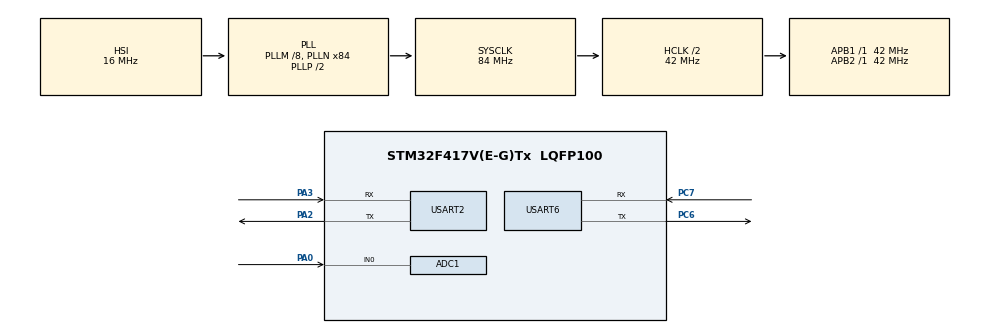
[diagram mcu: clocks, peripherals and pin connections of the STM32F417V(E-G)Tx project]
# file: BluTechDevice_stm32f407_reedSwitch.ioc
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ADC1.Channel-0\#ChannelRegularConversion=ADC_CHANNEL_0
ADC1.ClockPrescaler=ADC_CLOCK_SYNC_PCLK_DIV2
ADC1.ContinuousConvMode=DISABLE
ADC1.DMAContinuousRequests=DISABLE
ADC1.DataAlign=ADC_DATAALIGN_RIGHT
ADC1.DiscontinuousConvMode=DISABLE
ADC1.EOCSelection=ADC_EOC_SINGLE_CONV
ADC1.EnableAnalogWatchDog=false
ADC1.ExternalTrigConvEdge=ADC_EXTERNALTRIGCONVEDGE_NONE
ADC1.InjNumberOfConversion=0
ADC1.NbrOfConversion=1
ADC1.NbrOfConversionFlag=1
ADC1.Rank-0\#ChannelRegularConversion=1
ADC1.Resolution=ADC_RESOLUTION_12B
ADC1.SamplingTime-0\#ChannelRegularConversion=ADC_SAMPLETIME_3CYCLES
ADC1.ScanConvMode=DISABLE
ADC1.master=1
Mcu.Family=STM32F4
Mcu.Name=STM32F417V(E-G)Tx
Mcu.Package=LQFP100
NVIC.PriorityGroup=NVIC_PRIORITYGROUP_4
NVIC.TIM3_IRQn=true\:0\:0\:false\:false\:true
NVIC.USART2_IRQn=true\:0\:0\:false\:false\:true
NVIC.USART6_IRQn=true\:0\:0\:false\:false\:true
PA0-WKUP.Signal=ADCx_IN0
PA2.Mode=Asynchronous
PA2.Signal=USART2_TX
PA3.Mode=Asynchronous
PA3.Signal=USART2_RX
PC6.Mode=Asynchronous
PC6.Signal=USART6_TX
PC7.Mode=Asynchronous
PC7.Signal=USART6_RX
ProjectManager.HeapSize=0x200
ProjectManager.StackSize=0x400
ProjectManager.TargetToolchain=SW4STM32
RCC.48MHZClocksFreq_Value=42000000
RCC.AHBCLKDivider=RCC_SYSCLK_DIV2
RCC.AHBFreq_Value=42000000
RCC.APB1Freq_Value=42000000
RCC.APB1TimFreq_Value=42000000
RCC.APB2Freq_Value=42000000
RCC.APB2TimFreq_Value=42000000
RCC.CortexFreq_Value=42000000
RCC.HCLKFreq_Value=42000000
RCC.HSE_VALUE=25000000
RCC.HSI_VALUE=16000000
RCC.LSE_VALUE=32768
RCC.PLLM=8
RCC.PLLN=84
RCC.SYSCLKFreq_VALUE=84000000
RCC.SYSCLKSource=RCC_SYSCLKSOURCE_PLLCLK
RCC.VCOOutputFreq_Value=168000000
SH.ADCx_IN0.0=ADC1_IN0,IN0
TIM3.Period=1000
TIM3.Prescaler=42000
VP_TIM3_VS_ClockSourceINT.Mode=Internal
board=BluTechDevice_stm32f407_reedSwitch

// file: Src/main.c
/**
 ******************************************************************************
 * File Name          : main.c
 * Description        : Main program body
 ******************************************************************************
 *
 * COPYRIGHT(c) 2016 STMicroelectronics
 *
 * Redistribution and use in source and binary forms, with or without modification,
 * are permitted provided that the following conditions are met:
 *   1. Redistributions of source code must retain the above copyright notice,
 *      this list of conditions and the following disclaimer.
 *   2. Redistributions in binary form must reproduce the above copyright notice,
 *      this list of conditions and the following disclaimer in the documentation
 *      and/or other materials provided with the distribution.
 *   3. Neither the name of STMicroelectronics nor the names of its contributors
 *      may be used to endorse or promote products derived from this software
 *      without specific prior written permission.
 *
 * THIS SOFTWARE IS PROVIDED BY THE COPYRIGHT HOLDERS AND CONTRIBUTORS "AS IS"
 * AND ANY EXPRESS OR IMPLIED WARRANTIES, INCLUDING, BUT NOT LIMITED TO, THE
 * IMPLIED WARRANTIES OF MERCHANTABILITY AND FITNESS FOR A PARTICULAR PURPOSE ARE
 * DISCLAIMED. IN NO EVENT SHALL THE COPYRIGHT HOLDER OR CONTRIBUTORS BE LIABLE
 * FOR ANY DIRECT, INDIRECT, INCIDENTAL, SPECIAL, EXEMPLARY, OR CONSEQUENTIAL
 * DAMAGES (INCLUDING, BUT NOT LIMITED TO, PROCUREMENT OF SUBSTITUTE GOODS OR
 * SERVICES; LOSS OF USE, DATA, OR PROFITS; OR BUSINESS INTERRUPTION) HOWEVER
 * CAUSED AND ON ANY THEORY OF LIABILITY, WHETHER IN CONTRACT, STRICT LIABILITY,
 * OR TORT (INCLUDING NEGLIGENCE OR OTHERWISE) ARISING IN ANY WAY OUT OF THE USE
 * OF THIS SOFTWARE, EVEN IF ADVISED OF THE POSSIBILITY OF SUCH DAMAGE.
 *
 ******************************************************************************
 */
#include "stm32f4xx_hal.h"

/* USER CODE BEGIN Includes */
#include <string.h>
#include <stdlib.h>
#include "stm32fxxx_hal_BTDevice.h"
#include "stm32f4xx_hal_uart.h"
#include "stm32f4_discovery.h"

#define RX_IT_BUFFER_LENGTH 128
#define SENSOR_DATA_MAX_LENGTH 128
/* USER CODE END Includes */

ADC_HandleTypeDef hadc1;
TIM_HandleTypeDef htim3;
UART_HandleTypeDef huart2;
UART_HandleTypeDef huart6;

/* USER CODE BEGIN PV */
/* Private variables ---------------------------------------------------------*/
typedef enum{
	DOOR_CLOSED = 0,
	DOOR_OPENED = 1
}DoorState;

uint8_t husart2RxBuffer;
uint8_t husart6RxBuffer;

static uint8_t localDataBuffer[256]; /*!< Buffer to store the data received by the node from the gateway */

static uint16_t localDataLength; /*!< The length of the data that was received */

static volatile uint32_t doorCloseCounter = 0;/*<! Number of times the door was closed */

static volatile uint8_t doorState = DOOR_CLOSED; /*<! State of the door (CLOSED or OPENED) */

static uint8_t deviceCommandReceivedFlag = 0; /*<! Flag to signal that data was received by the node (from the gateway). 0 = nothing, 1 = data received */

/* USER CODE END PV */

void SystemClock_Config(void);
void Error_Handler(void);
static void MX_GPIO_Init(void);
static void MX_ADC1_Init(void);
static void MX_TIM3_Init(void);
static void MX_USART2_UART_Init(void);
static void MX_USART6_UART_Init(void);

/* USER CODE BEGIN PFP */
static void initBTDevice();
static uint8_t *getSensorData();
static uint32_t getSensorValue();
static void initReedSwitch();
static void doTheLEDPlay(void *p);
void deviceCommandReceivedCallback(uint8_t *dataBuffer, uint16_t dataLength);
static void deviceCommandReceived(void);

void HAL_TIM_PeriodElapsedCallback(TIM_HandleTypeDef *htim);
void HAL_UART_RxCpltCallback(UART_HandleTypeDef *huart);

int main(void)
{
	/* Reset of all peripherals, Initializes the Flash interface and the Systick. */
	HAL_Init();

	/* Configure the system clock */
	SystemClock_Config();

	/* Initialize all configured peripherals */
	MX_GPIO_Init();
	MX_ADC1_Init();
	MX_TIM3_Init();
	MX_USART2_UART_Init();
	MX_USART6_UART_Init();

	//Clean the one-byte buffer used to for UART reception
	husart6RxBuffer = 0;
	husart2RxBuffer = 0;

	//Initialize the LEDs
	BSP_LED_Init(LED3);
	BSP_LED_Init(LED4);
	BSP_LED_Init(LED5);
	BSP_LED_Init(LED6);

	BSP_LED_Toggle(LED3);
	BSP_LED_Toggle(LED5);

	//Clear the buffer to remove trash
	memset(localDataBuffer,0, sizeof(localDataBuffer));
	localDataLength = 0;

	//Enable IT upon reception for userUart
	HAL_UART_Receive_IT(&huart6, &husart6RxBuffer,1);

	//Enable IT upon reception for deviceUart
	HAL_UART_Receive_IT(&huart2, &husart2RxBuffer,1);

	//Enable PeriodEllapsed IT for TIM3 (used for periodic data transfer)
	HAL_TIM_Base_Start_IT(&htim3);

	//Init the BTDevice library
	initBTDevice();

	//Init the reed switch sensor: GPIO, NVIC
	initReedSwitch();

	//Display the command menu on userUart
	BTDevice_displayMenu();

	//Automatically initialize the BTDevice with default settings and perfom a signal check
	//The device will try to join the network untill successful. LED visuals will signal success.
	BTDevice_AutoInitTypeDef defaultValues = {0};
	defaultValues.timerPeriodValue = 300;
	defaultValues.autoModeStatus = AUTOMODE_OFF;

	while(BTDevice_initLoop(defaultValues) != BTDevice_OK)
		;

	//Blink the LEDS when the device joins the network
	doTheLEDPlay(NULL);

	/**
	 * Main Loop
	 * the library mainLoop fct will be called to process UART and TIM interupts
	 * when a message was received by the device (from the gateway), a special handler function is called
	 */
	while (1)
	{
		BTDevice_mainLoop();

		//True when data is received from the gateway
		if(deviceCommandReceivedFlag){
			deviceCommandReceivedFlag = 0; //Lower the flag
			deviceCommandReceived(); //Call the handler to analyse the received data.
		}
	}
}

/***************************************
 * SENSOR PART : ONLY THIS HAS TO CHANGE
 ***************************************/

static uint8_t * getSensorData(void){
	uint32_t value = getSensorValue();
	uint8_t *dataBuffer = malloc(sizeof(uint8_t)*SENSOR_DATA_MAX_LENGTH);
	memset(dataBuffer,0,SENSOR_DATA_MAX_LENGTH);
	sprintf((char *)dataBuffer,"{\"doorCloseCounter\":\"%lu\"}",value);
	return dataBuffer;
}

/**
 * Return the light value
 * @pre CPU temperature sensor must have been initialized before (ADC1 Channel 16)
 */
static uint32_t getSensorValue(void){
	uint32_t tmp = doorCloseCounter;
	doorCloseCounter = 0;
	return tmp;
}

/**
 * This callback is called from the library whenever a command/data was received by the
 * BTDevice (sent by the Gateway which means following a REST API post)
 *
 * It will copy the data received into a local buffer and raise a flag so that the data will be analyzed next time CPU is "free"
 *
 * @pre this function's address must be provided to the library during the BTDevice_Init();
 * @pre the localDataBuffer must be clear of trash (recommend to use memset to fill with zeroes)
 */
void deviceCommandReceivedCallback(uint8_t *dataBuffer, uint16_t dataLength){
	strcpy((char *)localDataBuffer,(char *)dataBuffer); //Get a copy of the data we received
	localDataLength = dataLength;
	deviceCommandReceivedFlag = 1; //Raise the flag. See main loop
}

/*
 * This function will be called from Main Loop when data/command has been received from the gateway.
 */
void deviceCommandReceived(){
	//The door device is not supposed to receive anything.
	//Just turn on the LEDs
	doTheLEDPlay(NULL);
}

/*
 * This function will make the LEDs blink every 50 ms for 1 seconds
 */
static void doTheLEDPlay(void * p){
	uint32_t startTick = 0, currentTick = 0;
	for(startTick = HAL_GetTick(); ((currentTick = HAL_GetTick() - startTick)) < 2000; currentTick = HAL_GetTick() - startTick){
		if(currentTick % 200 <= 50){
			BSP_LED_On(LED3);
			BSP_LED_Off(LED4);
			BSP_LED_Off(LED5);
			BSP_LED_Off(LED6);
		}else if(currentTick % 200 <= 100 && currentTick % 200 > 50){
			BSP_LED_Off(LED3);
			BSP_LED_On(LED4);
			BSP_LED_Off(LED5);
			BSP_LED_Off(LED6);
		}else if(currentTick % 200 > 100 && currentTick % 200 <= 150){
			BSP_LED_Off(LED3);
			BSP_LED_Off(LED4);
			BSP_LED_On(LED5);
			BSP_LED_Off(LED6);
		}else if(currentTick %200 > 150 && currentTick % 200 <= 200){
			BSP_LED_Off(LED3);
			BSP_LED_Off(LED4);
			BSP_LED_Off(LED5);
			BSP_LED_On(LED6);
		}
	}
	BSP_LED_Off(LED3);
	BSP_LED_Off(LED4);
	BSP_LED_Off(LED5);
	BSP_LED_Off(LED6);
}

/**
 * This function will be called when the reed switch is triggered
 * It will toggle the doorState and send the appropriate message to the Gateway.
 *
 * Need to wait 1000 ticks before toggling again
 */
void HAL_GPIO_EXTI_Callback(uint16_t GPIO_Pin){
	static uint32_t doorTick = 0;

	if((HAL_GetTick() - doorTick) > 1000 || doorTick == 0){//Wait at least 1000 ticks before inverting doorState (unless it is the first time)
		uint8_t *txBuffer = malloc(sizeof(uint8_t)*SENSOR_DATA_MAX_LENGTH);
		memset(txBuffer,0,SENSOR_DATA_MAX_LENGTH);
		if(GPIO_Pin == GPIO_PIN_15){
			doorCloseCounter++;
			if(doorState == DOOR_OPENED){
				sprintf((char *)txBuffer,"{\"doorState\":\"DOOR_CLOSED\"}");
				BTDevice_sendData(txBuffer, SENSOR_DATA_MAX_LENGTH);
				doorState = DOOR_CLOSED;
			}else{
				sprintf((char *)txBuffer,"{\"doorState\":\"DOOR_OPENED\"}");
				BTDevice_sendData(txBuffer, SENSOR_DATA_MAX_LENGTH);
				doorState = DOOR_OPENED;
			}
		}
	}
	doorTick = HAL_GetTick();
}

/**
 * This function will initialize the reed switch sensor
 */
static void initReedSwitch(){
	//Init PC15 as external interupt !
	GPIO_InitTypeDef GPIO_InitStruct;

	GPIO_InitStruct.Pin = GPIO_PIN_15;
	GPIO_InitStruct.Mode = GPIO_MODE_IT_RISING;
	GPIO_InitStruct.Pull = GPIO_PULLUP;
	GPIO_InitStruct.Speed = GPIO_SPEED_FREQ_HIGH;

	HAL_GPIO_Init(GPIOC, &GPIO_InitStruct);

	/* Peripheral interrupt init */
	HAL_NVIC_SetPriority(EXTI15_10_IRQn, 0, 0);
	HAL_NVIC_EnableIRQ(EXTI15_10_IRQn);

}

/******************************************************************************
 * INIT & LIBRARY PART: THIS SHOULD NOT BE CHANGED UNLESS YOU KNOW WHAT YOU DO
 ******************************************************************************/

/**
 * Initialize the library :
 * 		=> set the UART peripherals to be used : userUart and deviceUart
 * 		=> set the buffer's address to be used to analyze received characters from user input : userInputBuffer
 * 		=> set the user input buffer reset routine : resetInputBufferHandler
 * 		=> set the function to handle commands/data received by the node from the gateway : deviceCommandReceivedFunction
 * 		=> set the function to perform the data sensing and formatting (JSON format) : getSensorDataFunction
 * 		=> set the function to be called when the sensor's data has been sent : dataSentCallback
 * 		=> set the maximum length of the data payload : sensorDataMaxLength
 */
static void initBTDevice(void){

	BTDevice_InitTypeDef BTDevice_InitStruct = {0};

	BTDevice_InitStruct.userHuart = &huart6;
	BTDevice_InitStruct.deviceHuart = &huart2;
	BTDevice_InitStruct.deviceCommandReceivedHandler = &deviceCommandReceivedCallback;
	BTDevice_InitStruct.getSensorDataFunction = &getSensorData;
	BTDevice_InitStruct.signalEventFunction = &doTheLEDPlay;
	BTDevice_init(&BTDevice_InitStruct);
}

/**
 * Every second, this callback will be called following a TIM PeriodEllapsed interruption
 * The following process is executed :
 * 		=>Call BTDevice_timerCallback() to check if new data should be sent (it depends on the time ellapsed
 * 		since last data was sent)
 * 		=>When it's time to send new data, it will call getSensorData (which should return a dynamically allocated
 * 		uint8_buffer * 	containing the data) and then send it through the deviceUart using BTDevice_sendData()
 * @pre TIMx should be configured to trigger an IT every second
 *
 **/
void HAL_TIM_PeriodElapsedCallback(TIM_HandleTypeDef *htim){
	if(htim->Instance == TIM3){
		BTDevice_timerCallback();
	}
}

/**
 * Each time a character is received on either userUart or deviceUart, this callback will be called by the IRQHandler
 * The following process is executed :
 * 		## if the character was received on userUart, BTDevice_userUartCallback will be called
 * 		   the received character is store into the library userInputBuffer
 * 		   Then the userInputBuffer is analyzed by the lirabry to recognize a command. The reception process is
 * 		   restarted in IT mode to enable the next character reception using HAL_UART_Receive_IT
 *
 *		## If the character was received on the deviceUart, BTDevice_deviceUartCallback will be called. This routine
 *		will analyse the received byte, then will enable reception for the rest of the message and will
 *		process it. Finally, once the full message has been received and processed, it will enable the next character
 *		reception using HAL_UART_Receive_IT
 *		(once the message has been fully received, enabling next character reception means receiving the head of the next message
 */
void HAL_UART_RxCpltCallback(UART_HandleTypeDef *huart){
	if(huart->Instance == USART2){
		BTDevice_deviceUartCallback(&husart2RxBuffer);
	}
	if(huart->Instance == USART6){
		BTDevice_userUartCallback(&husart6RxBuffer);
	}
}

/*******************************************************************************
 * SYSTEM CLOCK Init and PERIPHERALS Init AUTOMATICALLY GENERATED BY STM32CUBEMX
 *
 * Some of these init functions will then call the appropriate MSP funtion.
 * See stm32l1xx_hal_msp.c
 *
 * THIS SHOULD NOT BE MODIFIED UNLESS YOU KNOW WHAT YOU ARE DOING
 *******************************************************************************/

/** System Clock Configuration
 */
void SystemClock_Config(void)
{
	RCC_OscInitTypeDef RCC_OscInitStruct;
	RCC_ClkInitTypeDef RCC_ClkInitStruct;

	__HAL_RCC_PWR_CLK_ENABLE();

	__HAL_PWR_VOLTAGESCALING_CONFIG(PWR_REGULATOR_VOLTAGE_SCALE1);

	RCC_OscInitStruct.OscillatorType = RCC_OSCILLATORTYPE_HSI;
	RCC_OscInitStruct.HSIState = RCC_HSI_ON;
	RCC_OscInitStruct.HSICalibrationValue = 16;
	RCC_OscInitStruct.PLL.PLLState = RCC_PLL_ON;
	RCC_OscInitStruct.PLL.PLLSource = RCC_PLLSOURCE_HSI;
	RCC_OscInitStruct.PLL.PLLM = 8;
	RCC_OscInitStruct.PLL.PLLN = 84;
	RCC_OscInitStruct.PLL.PLLP = RCC_PLLP_DIV2;
	RCC_OscInitStruct.PLL.PLLQ = 4;
	if (HAL_RCC_OscConfig(&RCC_OscInitStruct) != HAL_OK)
	{
		Error_Handler();
	}

	RCC_ClkInitStruct.ClockType = RCC_CLOCKTYPE_HCLK|RCC_CLOCKTYPE_SYSCLK
			|RCC_CLOCKTYPE_PCLK1|RCC_CLOCKTYPE_PCLK2;
	RCC_ClkInitStruct.SYSCLKSource = RCC_SYSCLKSOURCE_PLLCLK;
	RCC_ClkInitStruct.AHBCLKDivider = RCC_SYSCLK_DIV2;
	RCC_ClkInitStruct.APB1CLKDivider = RCC_HCLK_DIV1;
	RCC_ClkInitStruct.APB2CLKDivider = RCC_HCLK_DIV1;
	if (HAL_RCC_ClockConfig(&RCC_ClkInitStruct, FLASH_LATENCY_1) != HAL_OK)
	{
		Error_Handler();
	}

	HAL_SYSTICK_Config(HAL_RCC_GetHCLKFreq()/1000);

	HAL_SYSTICK_CLKSourceConfig(SYSTICK_CLKSOURCE_HCLK);

	/* SysTick_IRQn interrupt configuration */
	HAL_NVIC_SetPriority(SysTick_IRQn, 0, 0);
}

/* ADC1 init function */
static void MX_ADC1_Init(void)
{

	ADC_ChannelConfTypeDef sConfig;

	/**Configure the global features of the ADC (Clock, Resolution, Data Alignment and number of conversion)
	 */
	hadc1.Instance = ADC1;
	hadc1.Init.ClockPrescaler = ADC_CLOCK_SYNC_PCLK_DIV2;
	hadc1.Init.Resolution = ADC_RESOLUTION_12B;
	hadc1.Init.ScanConvMode = DISABLE;
	hadc1.Init.ContinuousConvMode = DISABLE;
	hadc1.Init.DiscontinuousConvMode = DISABLE;
	hadc1.Init.ExternalTrigConvEdge = ADC_EXTERNALTRIGCONVEDGE_NONE;
	hadc1.Init.DataAlign = ADC_DATAALIGN_RIGHT;
	hadc1.Init.NbrOfConversion = 1;
	hadc1.Init.DMAContinuousRequests = DISABLE;
	hadc1.Init.EOCSelection = ADC_EOC_SINGLE_CONV;
	if (HAL_ADC_Init(&hadc1) != HAL_OK)
	{
		Error_Handler();
	}

	/**Configure for the selected ADC regular channel its corresponding rank in the sequencer and its sample time.
	 */
	sConfig.Channel = ADC_CHANNEL_0;
	sConfig.Rank = 1;
	sConfig.SamplingTime = ADC_SAMPLETIME_3CYCLES;
	if (HAL_ADC_ConfigChannel(&hadc1, &sConfig) != HAL_OK)
	{
		Error_Handler();
	}

}

/* TIM3 init function */
static void MX_TIM3_Init(void)
{

	TIM_ClockConfigTypeDef sClockSourceConfig;
	TIM_MasterConfigTypeDef sMasterConfig;

	htim3.Instance = TIM3;
	htim3.Init.Prescaler = 42000;
	htim3.Init.CounterMode = TIM_COUNTERMODE_UP;
	htim3.Init.Period = 1000;
	htim3.Init.ClockDivision = TIM_CLOCKDIVISION_DIV1;
	if (HAL_TIM_Base_Init(&htim3) != HAL_OK)
	{
		Error_Handler();
	}

	sClockSourceConfig.ClockSource = TIM_CLOCKSOURCE_INTERNAL;
	if (HAL_TIM_ConfigClockSource(&htim3, &sClockSourceConfig) != HAL_OK)
	{
		Error_Handler();
	}

	sMasterConfig.MasterOutputTrigger = TIM_TRGO_RESET;
	sMasterConfig.MasterSlaveMode = TIM_MASTERSLAVEMODE_DISABLE;
	if (HAL_TIMEx_MasterConfigSynchronization(&htim3, &sMasterConfig) != HAL_OK)
	{
		Error_Handler();
	}

}

/* USART2 init function */
static void MX_USART2_UART_Init(void)
{

	huart2.Instance = USART2;
	huart2.Init.BaudRate = 115200;
	huart2.Init.WordLength = UART_WORDLENGTH_8B;
	huart2.Init.StopBits = UART_STOPBITS_1;
	huart2.Init.Parity = UART_PARITY_NONE;
	huart2.Init.Mode = UART_MODE_TX_RX;
	huart2.Init.HwFlowCtl = UART_HWCONTROL_NONE;
	huart2.Init.OverSampling = UART_OVERSAMPLING_16;
	if (HAL_UART_Init(&huart2) != HAL_OK)
	{
		Error_Handler();
	}

}

/* USART6 init function */
static void MX_USART6_UART_Init(void)
{
	huart6.Instance = USART6;
	huart6.Init.BaudRate = 115200;
	huart6.Init.WordLength = UART_WORDLENGTH_8B;
	huart6.Init.StopBits = UART_STOPBITS_1;
	huart6.Init.Parity = UART_PARITY_NONE;
	huart6.Init.Mode = UART_MODE_TX_RX;
	huart6.Init.HwFlowCtl = UART_HWCONTROL_NONE;
	huart6.Init.OverSampling = UART_OVERSAMPLING_16;
	if (HAL_UART_Init(&huart6) != HAL_OK)
	{
		Error_Handler();
	}
}

/** Pinout Configuration
 */
static void MX_GPIO_Init(void)
{

	/* GPIO Ports Clock Enable */
	__HAL_RCC_GPIOA_CLK_ENABLE();
	__HAL_RCC_GPIOC_CLK_ENABLE();

}

void Error_Handler(void)
{
	while(1)
	{
	}
}

/************************ (C) COPYRIGHT STMicroelectronics *****END OF FILE****/
